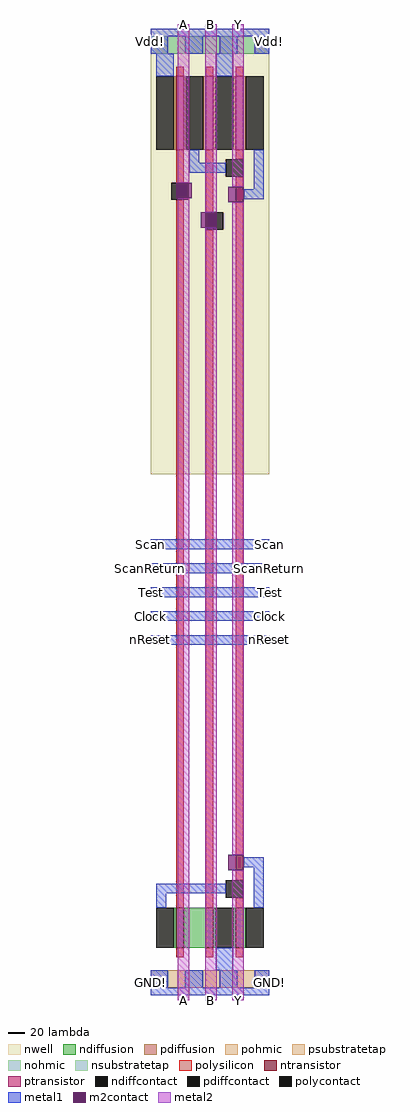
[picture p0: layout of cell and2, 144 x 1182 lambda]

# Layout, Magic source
magic
tech tsmc180
<< nwell >>
rect 0 637 144 1176
<< polysilicon >>
rect 31 1119 40 1130
rect 67 1119 76 1130
rect 103 1119 112 1130
rect 31 990 40 1030
rect 31 112 40 969
rect 67 954 76 1030
rect 103 1018 112 1030
rect 67 112 76 933
rect 103 145 112 997
rect 103 112 112 124
rect 31 52 40 63
rect 67 52 76 63
rect 103 52 112 63
<< ndiffusion >>
rect 28 63 31 112
rect 40 63 67 112
rect 76 63 79 112
rect 100 63 103 112
rect 112 63 115 112
<< pdiffusion >>
rect 28 1030 31 1119
rect 40 1030 43 1119
rect 64 1030 67 1119
rect 76 1030 79 1119
rect 100 1030 103 1119
rect 112 1030 115 1119
<< pohmic >>
rect 0 15 21 36
rect 42 15 63 36
rect 84 15 105 36
rect 126 15 144 36
<< nohmic >>
rect 0 1146 21 1167
rect 42 1146 63 1167
rect 84 1146 105 1167
rect 126 1146 144 1167
<< ntransistor >>
rect 31 63 40 112
rect 67 63 76 112
rect 103 63 112 112
<< ptransistor >>
rect 31 1030 40 1119
rect 67 1030 76 1119
rect 103 1030 112 1119
<< polycontact >>
rect 25 969 46 990
rect 91 997 112 1018
rect 67 933 88 954
rect 91 124 112 145
<< ndiffcontact >>
rect 7 63 28 112
rect 79 63 100 112
rect 115 63 137 112
<< pdiffcontact >>
rect 7 1030 28 1119
rect 43 1030 64 1119
rect 79 1030 100 1119
rect 115 1030 137 1119
<< psubstratetap >>
rect 21 15 42 36
rect 63 15 84 36
rect 105 15 126 36
<< nsubstratetap >>
rect 21 1146 42 1167
rect 63 1146 84 1167
rect 105 1146 126 1167
<< metal1 >>
rect 0 1167 144 1176
rect 0 1146 21 1167
rect 42 1146 63 1167
rect 84 1146 105 1167
rect 126 1146 144 1167
rect 7 1119 28 1146
rect 79 1119 100 1146
rect 47 1014 59 1030
rect 47 1002 91 1014
rect 125 982 137 1030
rect 113 970 137 982
rect 0 546 144 558
rect 0 517 144 529
rect 0 488 144 500
rect 0 459 144 471
rect 0 430 144 442
rect 113 161 137 173
rect 7 129 91 141
rect 7 112 19 129
rect 125 112 137 161
rect 79 36 100 63
rect 0 15 21 36
rect 42 15 63 36
rect 84 15 105 36
rect 126 15 144 36
rect 0 6 144 15
<< m2contact >>
rect 31 971 46 990
rect 46 971 50 990
rect 94 966 113 985
rect 61 935 67 954
rect 67 935 80 954
rect 94 157 113 176
<< metal2 >>
rect 33 990 47 1182
rect 33 0 47 971
rect 66 954 80 1182
rect 99 985 113 1182
rect 66 0 80 935
rect 99 176 113 966
rect 99 0 113 157
<< labels >>
rlabel metal1 0 6 0 36 3 GND!
rlabel metal2 33 0 47 0 1 A
rlabel metal2 99 0 113 0 1 Y
rlabel metal1 144 6 144 36 7 GND!
rlabel metal2 66 0 80 0 1 B
rlabel metal1 0 430 0 442 3 nReset
rlabel metal1 0 459 0 471 3 Clock
rlabel metal1 0 488 0 500 3 Test
rlabel metal1 0 517 0 529 3 ScanReturn
rlabel metal1 0 546 0 558 3 Scan
rlabel metal1 144 546 144 558 7 Scan
rlabel metal1 144 517 144 529 7 ScanReturn
rlabel metal1 144 488 144 500 7 Test
rlabel metal1 144 459 144 471 7 Clock
rlabel metal1 144 430 144 442 7 nReset
rlabel metal1 0 1146 0 1176 3 Vdd!
rlabel metal2 33 1182 47 1182 5 A
rlabel metal2 99 1182 113 1182 5 Y
rlabel metal2 66 1182 80 1182 5 B
rlabel metal1 144 1146 144 1176 7 Vdd!
<< end >>
